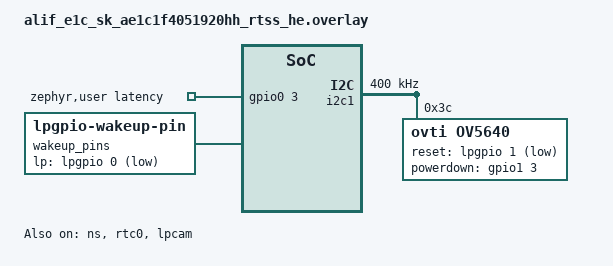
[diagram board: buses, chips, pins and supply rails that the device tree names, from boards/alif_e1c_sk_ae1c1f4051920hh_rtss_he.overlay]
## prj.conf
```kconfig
# Copyright (C) 2024 Alif Semiconductor
# SPDX-License-Identifier: Apache-2.0

CONFIG_VIDEO=y
CONFIG_LOG=y
CONFIG_LOG_BUFFER_SIZE=8192
CONFIG_PRINTK=y
CONFIG_STDOUT_CONSOLE=y
CONFIG_I2C_TARGET=y
CONFIG_I2C=y
CONFIG_I2C_DW_CLOCK_SPEED=100
CONFIG_SYS_HEAP_AUTO=y

# Power management: STOP-mode S2RAM with LPGPIO button wakeup.
CONFIG_PM=y
CONFIG_PM_DEVICE=y
CONFIG_POWER_DOMAIN=y
CONFIG_PM_S2RAM=y
CONFIG_PM_SAU_SAVE_RESTORE=y
CONFIG_POWEROFF=y
CONFIG_COUNTER=y
CONFIG_COUNTER_RTC_SNPS_DW=y
CONFIG_IDLE_STACK_SIZE=2048
CONFIG_CORTEX_M_SYSTICK_LPM_TIMER_HOOKS=y
CONFIG_ALIF_SE_DTS_RUN_PROFILE=n
CONFIG_ALIF_SE_DTS_OFF_PROFILE=n
```

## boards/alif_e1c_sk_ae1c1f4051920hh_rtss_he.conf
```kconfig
CONFIG_VIDEO_BUFFER_POOL_SZ_MAX=431616
CONFIG_VIDEO_BUFFER_POOL_NUM_MAX=1
```

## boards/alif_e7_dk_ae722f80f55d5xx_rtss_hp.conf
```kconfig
# mt9m114
CONFIG_MT9M114_PARALLEL_INIT=n
#
CONFIG_MIPI_DSI=y
```

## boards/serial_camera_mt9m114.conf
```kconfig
CONFIG_VIDEO_MIPI_CSI2_DW=y
CONFIG_VIDEO_BUFFER_POOL_SZ_MAX=1900000
CONFIG_VIDEO_BUFFER_POOL_NUM_MAX=1
CONFIG_REGULATOR=y
CONFIG_REGULATOR_FIXED_INIT_PRIORITY=40
CONFIG_MT9M114_PARALLEL_INIT=n
```

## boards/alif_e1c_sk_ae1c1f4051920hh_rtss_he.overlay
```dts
/* Copyright (C) 2026 Alif Semiconductor - All Rights Reserved.
 * Use, distribution and modification of this code is permitted under the
 * terms stated in the Alif Semiconductor Software License Agreement
 *
 * You should have received a copy of the Alif Semiconductor Software
 * License Agreement with this file. If not, please write to:
 * contact@alifsemi.com, or visit: https: //alifsemi.com/license
 *
 */

#include <dt-bindings/pinctrl/ensemble-e1c-pinctrl.h>
#include <dt-bindings/i2c/i2c.h>
#include <dt-bindings/gpio/gpio.h>
#include <dt-bindings/video/video-interfaces.h>

/*
 * Latency probe: P0_3 driven high at boot, low when capture starts,
 * high again when a frame has been dequeued.  Used for oscilloscope
 * measurements of camera acquisition latency.
 */
/ {
	zephyr,user {
		latency-gpios = <&gpio0 3 GPIO_ACTIVE_HIGH>;
	};
};

&pinctrl {
	pinctrl_gpio0_latency: pinctrl_gpio0_latency {
		group0 {
			pinmux = <PIN_P0_3__GPIO>;
			read-enable = <0x1>;
		};
	};
};

&pinctrl_uart2 {
	group0 {
		driver-state-control = <1>; /* pull-up: initialize RX active-high */
	};
};

&gpio0 {
	pinctrl-0 = <&pinctrl_gpio0_latency>;
	status = "okay";
};

&ns {
	status = "okay";
};

/*
 * Override gpio1 pinctrl to exclude P1_0 (JTAG_TMS), P1_1 (JTAG_TDI) and
 * P1_2 (JTAG_TDO) which are connected to the JTAG debug connector on the
 * E1C SK board. The default pinctrl_gpio1 covers the full port and would
 * remux those pads to GPIO, breaking the debug interface.
 */
&pinctrl {
	pinctrl_gpio1_video: pinctrl_gpio1_video {
		group0 {
			pinmux = <PIN_P1_3__GPIO>,
				 <PIN_P1_4__GPIO>,
				 <PIN_P1_5__GPIO>,
				 <PIN_P1_6__GPIO>,
				 <PIN_P1_7__GPIO>;
			read-enable = <0x1>;
		};
	};
};

&gpio1 {
	pinctrl-0 = <&pinctrl_gpio1_video>;
	status = "okay";
};

&pinctrl_lpgpio {
	group0 {
		pinmux = <PIN_P15_0__LPGPIO>,
			 <PIN_P15_1__LPGPIO>;
		read-enable = <1>;
		driver-state-control = <1>;
		drive-strength = <8>;
	};
};

&lpgpio {
	pinctrl-0 = <&pinctrl_lpgpio>;
	pinctrl-names = "default";
	status = "okay";
};

/*
 * Capture trigger button on LPGPIO 0 (P15_0). Reuses the simple_pm
 * "wakeup_pins" / "lpgpio-wakeup-pin" pattern so the same node also drives
 * the PM wakeup path.
 */
/ {
	wakeup_pins: wakeup_pins {
		compatible = "lpgpio-wakeup-pin";
		lpgpios = <&lpgpio 0 GPIO_ACTIVE_LOW>;
	};
};

/*
 * PM bits: RTC as Cortex-M idle timer, S2RAM as the chosen low-power state.
 * The video sample does not arm the RTC for timed wakeups — it serves only
 * as the idle-time reference for the LPM systick hooks.
 */
&rtc0 {
	prescaler = <1>;
	status = "okay";
};

&stop_s2ram {
	min-residency-us = <4000>;
	exit-latency-us = <3000>;
	status = "okay";
};

/ {
	chosen {
		zephyr,cortex-m-idle-timer = &rtc0;
	};
};

&i2c1 {
	status = "okay";
	clock-frequency = <I2C_BITRATE_FAST>;
	hcnt-offset = <10>;
	lcnt-offset = <10>;

	ov5640: ov5640@3c{
		compatible = "ovti,ov5640";
		reg = <0x3c>;
		status = "okay";
		reset-gpios = <&lpgpio 1 GPIO_ACTIVE_LOW>;
		powerdown-gpios = <&gpio1 3 GPIO_ACTIVE_HIGH>;

		port {
			ov5640_ep_out: endpoint {
				bus-type = <VIDEO_BUS_TYPE_PARALLEL>;
				remote-endpoint-label = "lpcam_ep_in";
			};
		};
	};
};

&lpcam {
	status = "okay";
	cpi-interface = "parallel";
	ports {
		#address-cells = <1>;
		#size-cells = <0>;

		/* Camera Input Endpoint. For LP-CAM it is only camera */
		port@0 {
			reg = <0>;
			lpcam_ep_in: endpoint {
				remote-endpoint-label = "ov5640_ep_out";
			};
		};

		/* Video buffer output endpoint. */
		port@1 {
			reg = <1>;
			cam_mem_ep_out: endpoint {
				remote-endpoint-label = "application";
			};
		};


	};
};
```

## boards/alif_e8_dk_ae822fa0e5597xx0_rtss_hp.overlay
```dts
&sram1 {
	status = "okay";
};
```

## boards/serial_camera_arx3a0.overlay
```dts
/* Copyright (C) 2025 Alif Semiconductor - All Rights Reserved.
 * Use, distribution and modification of this code are permitted under the
 * terms stated in the Alif Semiconductor Software License Agreement.
 *
 * You should have received a copy of the Alif Semiconductor Software
 * License Agreement with this file. If not, please write to:
 * contact@alifsemi.com, or visit: https://alifsemi.com/license
 */

#include <dt-bindings/pinctrl/ensemble-pinctrl.h>
#include <dt-bindings/i2c/i2c.h>
#include <dt-bindings/gpio/gpio.h>

/ {
	soc {

		csi: csi@49033000 {
			compatible = "snps,designware-csi";
			reg = <0x49033000 0x1000>;
			interrupts = <344 0>;

			data-lanes = <2>;
			ipi-mode = "Camera";
			phy-if = <&dphy>;

			csi-hsa = <5>;
			csi-hbp = <10>;
			csi-hsd = <280>;
			csi-hact = <560>;
			csi-vsa = <4>;
			csi-vbp = <4>;
			csi-vfp = <4>;
			csi-vact = <560>;
		};
	};
};



&gpio9 {
	status = "okay";
};

&gpio7 {
	status = "okay";
};

&i2c1 {
	status = "okay";

	arx3a0: arx3a0@36 {
		compatible = "onnn,arx3a0";
		reg = <0x36>;
		pinctrl-0 = < &pinctrl_cam_xvclk >;
		pinctrl-names = "default";
		reset-gpios = <&gpio9 1 GPIO_ACTIVE_HIGH>;
		power-gpios = <&gpio7 5 GPIO_ACTIVE_HIGH>;

		status = "okay";

		port {
			arx3a0_csi2_ep_out: endpoint {
				remote-endpoint = <&csi2_ep_in>;
			};
		};
	};
};

&cam {
	status = "okay";
	sensor = <&arx3a0>;
	csi-bus-if = <&csi>;
	port {
		/* MIPI CSI-2 bus endpoint. */
		cam_csi2_ep_in: endpoint {
			remote-endpoint = <&csi2_ep_out>;
		};
	};
};

&csi {
	#address-cells = <1>;
	#size-cells = <0>;
	port@1 {
		reg = <1>;
		csi2_ep_in: endpoint {
			remote-endpoint = <&arx3a0_csi2_ep_out>;
		};
	};
	port@2 {
		reg = <2>;
		csi2_ep_out: endpoint {
			remote-endpoint = <&cam_csi2_ep_in>;
		};
	};
};

&mipi_dsi {
	status = "okay";
};
```

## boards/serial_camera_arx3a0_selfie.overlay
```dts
/* Copyright (C) 2025 Alif Semiconductor - All Rights Reserved.
 * Use, distribution and modification of this code are permitted under the
 * terms stated in the Alif Semiconductor Software License Agreement.
 *
 * You should have received a copy of the Alif Semiconductor Software
 * License Agreement with this file. If not, please write to:
 * contact@alifsemi.com, or visit: https://alifsemi.com/license
 */

#include <dt-bindings/pinctrl/ensemble-pinctrl.h>
#include <dt-bindings/i2c/i2c.h>
#include <dt-bindings/gpio/gpio.h>
#include <dt-bindings/video/video-interfaces.h>

&i2c1 {
	status = "okay";
};

&gpio7 {
	status = "okay";
};

&gpio14 {
	status = "okay";
};

/{
	i2c_mux: i2c-mux {
		compatible = "gpio-i2c-mux";
		status = "okay";
		#address-cells = <1>;
		#size-cells = <0>;

		i2c-inst = <&i2c1>;

		ctrl-gpios = <&gpio14 3 GPIO_ACTIVE_HIGH>;

		mux_i2c@0 {
			compatible = "gpio-i2c-mux-channel";
			reg = <0>;

			#address-cells = <1>;
			#size-cells = <0>;

			arx3a0_selfie: arx3a0_selfie@36 {
				compatible = "onnn,arx3a0";
				reg = <0x36>;

				reset-gpios = <&gpio14 4 GPIO_ACTIVE_HIGH>;
				power-gpios = <&gpio7 5 GPIO_ACTIVE_HIGH>;

				status = "okay";

				port {
					arx3a0_csi2_ep_out0: endpoint {
						bus-type = <VIDEO_BUS_TYPE_CSI2_DPHY>;
						link-frequencies = < 400000000 >;
						data-lanes = <1 2>;
						clock-lane = <0>;

						remote-endpoint-label = "csi2_ep_in0";
					};
				};
			};
		};
	};
};

&cam {
	status = "okay";

	pinctrl-0 = <&pinctrl_cam_xvclk>;
	pinctrl-names = "default";

	ports {
		#address-cells = <1>;
		#size-cells = <0>;

		/* MIPI CSI-2 bus endpoint. */
		port@0 {
			reg = <0>;
			cam_csi2_ep_in: endpoint {
				remote-endpoint-label = "csi2_ep_out";
			};
		};

		/* Video buffer output endpoint. */
		port@1 {
			reg = <1>;
			cam_mem_ep_out: endpoint {
				remote-endpoint-label = "application";
			};
		};
	};
};

&csi {
	status = "okay";

	/* Selfie camera D-PHY*/
	phy-if = <&dphy 0>;
	ports {
		#address-cells = <1>;
		#size-cells = <0>;
		port@0 {
			reg = <0>;
			csi2_ep_in0: endpoint {
				bus-type = <VIDEO_BUS_TYPE_CSI2_DPHY>;
				data-lanes = <1 2>;
				clock-lane = <0>;

				remote-endpoint-label = "arx3a0_csi2_ep_out0";
			};
		};
		port@2 {
			reg = <2>;
			csi2_ep_out: endpoint {
				remote-endpoint-label = "cam_csi2_ep_in";
				bus-type = <VIDEO_BUS_TYPE_PARALLEL>;
			};
		};
	};
};
```

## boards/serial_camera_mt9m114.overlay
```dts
/* Copyright (C) 2025 Alif Semiconductor - All Rights Reserved.
 * Use, distribution and modification of this code are permitted under the
 * terms stated in the Alif Semiconductor Software License Agreement.
 *
 * You should have received a copy of the Alif Semiconductor Software
 * License Agreement with this file. If not, please write to:
 * contact@alifsemi.com, or visit: https://alifsemi.com/license
 */

#include <dt-bindings/pinctrl/ensemble-pinctrl.h>
#include <dt-bindings/i2c/i2c.h>
#include <dt-bindings/gpio/gpio.h>
#include <dt-bindings/video/video-interfaces.h>

&gpio7 {
	status = "okay";
};

&gpio9 {
	status = "okay";
};

&i2c1 {
	status = "okay";

	mt9m114: mt9m114@5d {
		compatible = "aptina,mt9m114";
		reg = <0x5d>;
		pinctrl-0 = < &pinctrl_cam_xvclk >;
		pinctrl-names = "default";
		reset-gpios = <&gpio9 1 GPIO_ACTIVE_HIGH>;
		power-gpios = <&gpio7 5 GPIO_ACTIVE_HIGH>;

		status = "okay";

		port {
			mt9m114_ep_out: endpoint {
				bus-type = <VIDEO_BUS_TYPE_CSI2_DPHY>;
				link-frequencies = < 400000000 >;
				data-lanes = <1>;
				clock-lane = <0>;

				remote-endpoint-label = "csi2_ep_in";
			};
		};
	};
};

&cam {
	status = "okay";

	pinctrl-0 = <&pinctrl_cam_xvclk>;
	pinctrl-names = "default";

	/* data-mode = "16-bit"; */

	ports {
		#address-cells = <1>;
		#size-cells = <0>;

		/* MIPI CSI-2 bus endpoint. */
		port@0 {
			reg = <0>;
			cam_csi2_ep_in: endpoint {
				remote-endpoint-label = "csi2_ep_out";
			};
		};

		/* Video buffer output endpoint. */
		port@1 {
			reg = <1>;
			cam_mem_ep_out: endpoint {
				remote-endpoint-label = "application";
			};
		};
	};
};

&csi {
	status = "okay";

	/* RX-DPHY */
	phy-if = <&dphy 0>;
	ports {
		#address-cells = <1>;
		#size-cells = <0>;
		port@0 {
			reg = <0>;
			csi2_ep_in: endpoint {
				bus-type = <VIDEO_BUS_TYPE_CSI2_DPHY>;
				data-lanes = <1>;
				clock-lane = <0>;

				remote-endpoint-label = "mt9m114_ep_out";
			};
		};
		port@2 {
			reg = <2>;
			csi2_ep_out: endpoint {
				remote-endpoint-label = "cam_csi2_ep_in";
				bus-type = <VIDEO_BUS_TYPE_PARALLEL>;
			};
		};
	};
};
```

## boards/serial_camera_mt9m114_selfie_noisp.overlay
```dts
/* Copyright (C) 2026 Alif Semiconductor - All Rights Reserved.
 * Use, distribution and modification of this code are permitted under the
 * terms stated in the Alif Semiconductor Software License Agreement.
 *
 * You should have received a copy of the Alif Semiconductor Software
 * License Agreement with this file. If not, please write to:
 * contact@alifsemi.com, or visit: https://alifsemi.com/license
 */

/*
 * Selfie MT9M114 (CSI-2) capture WITHOUT the ISP in the pipeline.
 *
 * This is a copy of serial_camera_mt9m114_selfie.overlay with the ISP
 * removed: the &isp node is left disabled (SoC default) and the CAM
 * controller streams directly to memory (the "application" endpoint)
 * instead of the ISP. Use this to exercise the capture path with the
 * ISP config omitted.
 */

#include <dt-bindings/pinctrl/ensemble-pinctrl.h>
#include <dt-bindings/i2c/i2c.h>
#include <dt-bindings/gpio/gpio.h>
#include <dt-bindings/video/video-interfaces.h>

&i2c1 {
	status = "okay";
};

&gpio7 {
	status = "okay";
};

&gpio14 {
	status = "okay";
};

/ {
	csi_cam_power: regulator-v1.2-v1.8v {
		compatible = "regulator-fixed";

		regulator-name = "MIPI supply";

		enable-gpios = < &gpio7 5 GPIO_ACTIVE_HIGH >;

		regulator-boot-on;
		regulator-always-on;
		status = "okay";
	};

	i2c_mux: i2c-mux {
		compatible = "gpio-i2c-mux";
		status = "okay";
		#address-cells = <1>;
		#size-cells = <0>;

		i2c-inst = <&i2c1>;

		ctrl-gpios = <&gpio14 3 GPIO_ACTIVE_HIGH>;

		mux_i2c@0 {
			compatible = "gpio-i2c-mux-channel";
			reg = <0>;

			#address-cells = <1>;
			#size-cells = <0>;

			mt9m114_selfie: mt9m114_selfie@5d {
				compatible = "aptina,mt9m114";
				reg = <0x5d>;

				reset-gpios = <&gpio14 4 GPIO_ACTIVE_LOW>;

				status = "okay";

				port {
					mt9m114_csi2_ep_out0: endpoint {
						bus-type = <VIDEO_BUS_TYPE_CSI2_DPHY>;
						link-frequencies = < 384000000 >;
						data-lanes = <1>;
						clock-lane = <0>;

						remote-endpoint-label = "csi2_ep_in0";
					};
				};
			};
		};
	};
};

&cam {
	status = "okay";

	pinctrl-0 = <&pinctrl_cam_xvclk>;
	pinctrl-names = "default";

	ports {
		#address-cells = <1>;
		#size-cells = <0>;

		/* MIPI CSI-2 bus endpoint. */
		port@0 {
			reg = <0>;
			cam_csi2_ep_in: endpoint {
				remote-endpoint-label = "csi2_ep_out";
			};
		};

		/* Video buffer output endpoint (direct to memory, no ISP). */
		port@1 {
			reg = <1>;
			cam_mem_ep_out: endpoint {
				remote-endpoint-label = "application";
			};
		};
	};
};

&csi {
	status = "okay";

	/* Selfie camera D-PHY*/
	phy-if = <&dphy 0>;
	ports {
		#address-cells = <1>;
		#size-cells = <0>;
		port@0 {
			reg = <0>;
			csi2_ep_in0: endpoint {
				bus-type = <VIDEO_BUS_TYPE_CSI2_DPHY>;
				link-frequencies = < 384000000 >;
				data-lanes = <1>;
				clock-lane = <0>;

				remote-endpoint-label = "mt9m114_csi2_ep_out0";
			};
		};
		port@2 {
			reg = <2>;
			csi2_ep_out: endpoint {
				remote-endpoint-label = "cam_csi2_ep_in";
				bus-type = <VIDEO_BUS_TYPE_PARALLEL>;
			};
		};
	};
};
```

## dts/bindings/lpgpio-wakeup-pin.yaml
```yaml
# Copyright (C) 2026 Alif Semiconductor - All Rights Reserved.
# Use, distribution and modification of this code is permitted under the
# terms stated in the Alif Semiconductor Software License Agreement
#
# You should have received a copy of the Alif Semiconductor Software
# License Agreement with this file. If not, please write to:
# contact@alifsemi.com, or visit: https://alifsemi.com/license

description: LPGPIO wakeup pin definition

compatible: "lpgpio-wakeup-pin"

properties:
  lpgpios:
    type: phandle-array
    required: true
    description: |
      The LPGPIO pin used to wakeup system.
```

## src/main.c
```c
/*
 * Copyright (C) 2026 Alif Semiconductor.
 * SPDX-License-Identifier: Apache-2.0
 */

#include <zephyr/kernel.h>
#include <zephyr/device.h>

#include <zephyr/drivers/video.h>
#include <soc_common.h>
#include <se_service.h>
#include <zephyr/drivers/gpio.h>

#include <zephyr/drivers/video/video_alif.h>
#include <zephyr/drivers/video/isp-vsi.h>

#ifdef CONFIG_DT_HAS_HIMAX_HM0360_ENABLED
#include <zephyr/drivers/video/hm0360-video-controls.h>
#endif /* CONFIG_DT_HAS_HIMAX_HM0360_ENABLED */

#ifdef CONFIG_DT_HAS_OVTI_OV5640_ENABLED
#include <zephyr/drivers/regulator.h>
#endif

#include <zephyr/logging/log.h>
LOG_MODULE_REGISTER(video_app, LOG_LEVEL_INF);

#define ISP_ENABLED DT_NODE_HAS_STATUS_OKAY(DT_NODELABEL(isp))
#define JPEG_ENABLED (ISP_ENABLED && DT_NODE_HAS_STATUS_OKAY(DT_NODELABEL(jpeg0)))

#ifdef CONFIG_DT_HAS_OVTI_OV5640_ENABLED
#define N_FRAMES		1
#else
#define N_FRAMES		10
#endif
/*
 * Single-buffer capture demo: use exactly ONE video buffer and loop to
 * capture N_FRAMES images, re-enqueuing the same buffer after each frame.
 * This behaves identically with and without the ISP in the pipeline.
 */
#define N_VID_BUFF              1

#if JPEG_ENABLED
/* The JPEG encoder consumes one output buffer from the pool in addition to
 * the single capture buffer.
 */
BUILD_ASSERT(CONFIG_VIDEO_BUFFER_POOL_NUM_MAX >= 2, "Insufficient Video buffer pool capacity");
#endif /* JPEG_ENABLED */


#ifdef CONFIG_DT_HAS_HIMAX_HM0360_ENABLED
#define PIPELINE_FORMAT	VIDEO_PIX_FMT_BGGR8
#elif CONFIG_DT_HAS_OVTI_OV5640_ENABLED
#define PIPELINE_FORMAT	VIDEO_PIX_FMT_RGB565
#else
#define PIPELINE_FORMAT	VIDEO_PIX_FMT_Y10P
#endif /* CONFIG_DT_HAS_HIMAX_HM0360_ENABLED */

#if ISP_ENABLED
#if JPEG_ENABLED
#define OUTPUT_FORMAT	VIDEO_PIX_FMT_NV12
#else
#define OUTPUT_FORMAT	VIDEO_PIX_FMT_RGB888_PLANAR_PRIVATE
#endif /* JPEG_ENABLED */
#endif

#if (CONFIG_VIDEO_ALIF_CAM_EXTENDED && CONFIG_VIDEO_MIPI_CSI2_DW)
#define NUM_CAMS DT_PROP_LEN(DT_NODELABEL(csi), phy_if)
#else
#define NUM_CAMS 1
#endif /* CONFIG_VIDEO_ALIF_CAM_EXTENDED */

#if ISP_ENABLED
enum logging_level {
	LOGGING_LEVEL_NONE = 0,
	LOGGING_LEVEL_ERR,
	LOGGING_LEVEL_WARN,
	LOGGING_LEVEL_INFO,
	LOGGING_LEVEL_DEBUG,
	LOGGING_LEVEL_VERBOSE,
};

#define LIB_LOG_LEVEL LOGGING_LEVEL_NONE

int log_level(void)
{
	return LIB_LOG_LEVEL;
}
#endif

#if JPEG_ENABLED
#define JPEG_DEVICE_NODE DT_NODELABEL(jpeg0)
#define JPEG_COMPRESS_QUALITY    50
#define JPEG_HEADER_SIZE         CONFIG_VIDEO_JPEG_HANTRO_VC9000E_HEADER_SIZE
/* Jpeg output buffer */
static struct video_buffer *jpeg_op_buf;
const struct device *jpeg_dev;
static struct video_caps jpeg_fmt_caps;
#endif /* JPEG_ENABLED */

static int fourcc_to_pitch(uint32_t fourcc, uint32_t width)
{
	int pitch;

	switch (fourcc) {
	case VIDEO_PIX_FMT_RGB888_PLANAR_PRIVATE:
	case VIDEO_PIX_FMT_NV24:
	case VIDEO_PIX_FMT_NV42:
		pitch = width * 3;
		break;
	case VIDEO_PIX_FMT_RGB565:
	case VIDEO_PIX_FMT_Y10P:
	case VIDEO_PIX_FMT_BGGR10:
	case VIDEO_PIX_FMT_GBRG10:
	case VIDEO_PIX_FMT_GRBG10:
	case VIDEO_PIX_FMT_RGGB10:
	case VIDEO_PIX_FMT_BGGR12:
	case VIDEO_PIX_FMT_GBRG12:
	case VIDEO_PIX_FMT_GRBG12:
	case VIDEO_PIX_FMT_RGGB12:
	case VIDEO_PIX_FMT_BGGR14:
	case VIDEO_PIX_FMT_GBRG14:
	case VIDEO_PIX_FMT_GRBG14:
	case VIDEO_PIX_FMT_RGGB14:
	case VIDEO_PIX_FMT_BGGR16:
	case VIDEO_PIX_FMT_GBRG16:
	case VIDEO_PIX_FMT_GRBG16:
	case VIDEO_PIX_FMT_RGGB16:
	case VIDEO_PIX_FMT_Y10:
	case VIDEO_PIX_FMT_Y12:
	case VIDEO_PIX_FMT_Y14:
	case VIDEO_PIX_FMT_YUYV:
	case VIDEO_PIX_FMT_YVYU:
	case VIDEO_PIX_FMT_VYUY:
	case VIDEO_PIX_FMT_UYVY:
	case VIDEO_PIX_FMT_NV16:
	case VIDEO_PIX_FMT_NV61:
	case VIDEO_PIX_FMT_YUV422P:
		pitch = width << 1;
		break;
	case VIDEO_PIX_FMT_NV12:
	case VIDEO_PIX_FMT_NV21:
	case VIDEO_PIX_FMT_YUV420:
	case VIDEO_PIX_FMT_YVU420:
		pitch = (width * 3) >> 1;
		break;
	case VIDEO_PIX_FMT_BGGR8:
	case VIDEO_PIX_FMT_GBRG8:
	case VIDEO_PIX_FMT_GRBG8:
	case VIDEO_PIX_FMT_RGGB8:
	case VIDEO_PIX_FMT_GREY:
	default:
		pitch = width;
		break;
	}

	return pitch;
}

#if ISP_ENABLED && defined(CONFIG_ISP_LIB_AE_MODULE)
static void ae_status(const struct device *dev, uint8_t ae_stable, void *user_data)
{
	ARG_UNUSED(dev);
	ARG_UNUSED(user_data);
	LOG_INF("AE Stabilization status: %d", ae_stable);
}
#endif /* ISP_ENABLED && defined(CONFIG_ISP_LIB_AE_MODULE) */

#if JPEG_ENABLED
/**
 * @brief Test basic JPEG compression.
 *
 * Compress the full test image at the configured quality, store the
 * compressed data in the provided output buffer, and print a host-side
 * dump-memory command for retrieving the result.
 *
 * @param jpeg_dev      Pointer to the JPEG encoder device.
 * @param fmt           Jpeg frame format.
 * @param input_buf     Pointer to input buffer.
 * @param input_buf_idx Input buffer index.
 * @param output_buf    Pointer to output buffer for compressed jpeg data.
 *
 * @return 0 on success, negative errno on failure.
 */
static int jpeg_compress_img(const struct device *jpeg_dev,
			struct video_format fmt,
			struct video_buffer *input_buf,
			uint8_t input_buf_idx,
			struct video_buffer *output_buf)
{
	struct video_buffer *dequeued_buf = NULL;
	int ret;

	LOG_INF("Starting JPEG encoding...");

	/* The pitch is 16-bytes aligned */
	fmt.pitch = ROUND_UP(fmt.width, 16);

	/* Set video format */
	ret = video_set_format(jpeg_dev, VIDEO_EP_OUT, &fmt);
	if (ret < 0) {
		LOG_ERR("Jpeg: Failed to set format: %d", ret);
		return ret;
	}

	LOG_INF("Jpeg: Format set: %ux%u, format: NV12", fmt.width, fmt.height);

	/* Set JPEG quality */
	uint8_t quality = JPEG_COMPRESS_QUALITY;

	ret = video_set_ctrl(jpeg_dev, VIDEO_CID_JPEG_COMPRESSION_QUALITY, &quality);
	if (ret < 0) {
		LOG_ERR("JPEG: Failed to set quality: %d", ret);
		return ret;
	}

	/* Set input buffer address */
	ret = video_set_ctrl(jpeg_dev, VIDEO_CID_JPEG_INPUT_BUFFER, input_buf->buffer);
	if (ret < 0) {
		LOG_ERR("Jpeg: Failed to set input buffer: %d", ret);
		return ret;
	}

	output_buf->bytesused = fmt.width * fmt.height;

	/* Enqueue output buffer */
	ret = video_enqueue(jpeg_dev, VIDEO_EP_OUT, output_buf);
	if (ret < 0) {
		LOG_ERR("Jpeg: Failed to enqueue buffer: %d", ret);
		return ret;
	}


	ret = video_stream_start(jpeg_dev);
	if (ret < 0) {
		LOG_ERR("Jpeg: Failed to start stream: %d", ret);
		return ret;
	}

	/* Dequeue encoded buffer */
	ret = video_dequeue(jpeg_dev, VIDEO_EP_OUT, &dequeued_buf, K_SECONDS(5));
	if (ret < 0) {
		LOG_ERR("Jpeg: Failed to dequeue buffer: %d", ret);
		video_stream_stop(jpeg_dev);
		return ret;
	}

	/* Stop streaming */
	ret = video_stream_stop(jpeg_dev);
	if (ret < 0) {
		LOG_ERR("Jpeg: Failed to stop stream: %d", ret);
		return ret;
	}

	/* Print results */
	LOG_INF("=== JPEG Encoding Success===");
	LOG_INF("Jpeg: Capture Image: dump memory "
		"\"/home/$USER/capture_cp_%d.jpg\" 0x%08x 0x%08x\n",
		input_buf_idx, (uint32_t)output_buf->buffer,
		(uint32_t)output_buf->buffer + dequeued_buf->bytesused);

	return 0;

}
#endif /* JPEG_ENABLED */

int main(void)
{
	struct video_buffer *buffers[N_VID_BUFF], *vbuf;
	struct video_format fmt = { 0 };
	struct video_caps caps[NUM_CAMS];
	const struct device *video;
	enum video_endpoint_id ep;
	unsigned int frame = 0;
	size_t bsize;
	int i = 0;
	int ret;

#ifdef CONFIG_DT_HAS_HIMAX_HM0360_ENABLED
	uint32_t num_frames;
#endif /* CONFIG_DT_HAS_HIMAX_HM0360_ENABLED */

#if (CONFIG_VIDEO_ALIF_CAM_EXTENDED && CONFIG_VIDEO_MIPI_CSI2_DW)
	uint8_t current_sensor;
#endif /* CONFIG_VIDEO_ALIF_CAM_EXTENDED */
	int loop_ctr;

	uint32_t last_timestamp = 0;
	uint32_t frame_time = 0;

#if ISP_ENABLED
	video = DEVICE_DT_GET_ONE(vsi_isp_pico);
#else
	video = DEVICE_DT_GET_ONE(alif_cam);
#endif /* DT_NODE_HAS_STATUS_OKAY(DT_NODELABEL(isp), okay)*/

	if (!device_is_ready(video)) {
		LOG_ERR("%s: device not ready.", video->name);
		return -1;
	}
	LOG_INF("- Device name: %s", video->name);

#ifdef CONFIG_DT_HAS_OVTI_OV5640_ENABLED
	const struct device *cam_enbuf =
		DEVICE_DT_GET(DT_NODELABEL(cam_enbuf));

	if (!device_is_ready(cam_enbuf)) {
		LOG_ERR("cam_enbuf regulator not ready\n");
		return -1;
	}
#endif

#if ISP_ENABLED && defined(CONFIG_ISP_LIB_AE_MODULE)
	ret = isp_vsi_register_ae_status_callback(video, ae_status, NULL);
	if (ret) {
		LOG_ERR("Failed to register AE callback!");
		return ret;
	}
#endif /* ISP_ENABLED && defined(CONFIG_ISP_LIB_AE_MODULE) */

	for (loop_ctr = NUM_CAMS - 1; loop_ctr >= 0; loop_ctr--) {
#if (CONFIG_VIDEO_ALIF_CAM_EXTENDED && CONFIG_VIDEO_MIPI_CSI2_DW)
		ret = video_get_ctrl(video, VIDEO_CID_ALIF_CSI_CURR_CAM, &current_sensor);
		if (ret) {
			LOG_ERR("Failed to get current camera!");
			return ret;
		}
		LOG_INF("Selected camera: %s", (current_sensor) ? "Standard" : "Selfie");
#endif /* CONFIG_VIDEO_ALIF_CAM_EXTENDED */

		if (IS_ENABLED(ISP_ENABLED)) {
			ep = VIDEO_EP_IN;
		} else {
			ep = VIDEO_EP_OUT;
		}

		/* Get capabilities */
		if (video_get_caps(video, ep, &caps[loop_ctr])) {
			LOG_ERR("Unable to retrieve video capabilities");
			return -1;
		}

		LOG_INF("- Capabilities:\n");
		while (caps[loop_ctr].format_caps[i].pixelformat) {
			const struct video_format_cap *fcap = &caps[loop_ctr].format_caps[i];
			/* fourcc to string */
			LOG_INF("  %c%c%c%c width (min, max, step)[%u; %u; %u] "
				"height (min, max, step)[%u; %u; %u]",
			       (char)fcap->pixelformat,
			       (char)(fcap->pixelformat >> 8),
			       (char)(fcap->pixelformat >> 16),
			       (char)(fcap->pixelformat >> 24),
			       fcap->width_min, fcap->width_max, fcap->width_step,
			       fcap->height_min, fcap->height_max, fcap->height_step);
			if (fcap->pixelformat == PIPELINE_FORMAT) {
				fmt.pixelformat = PIPELINE_FORMAT;
				if (IS_ENABLED(CONFIG_DT_HAS_HIMAX_HM0360_ENABLED)) {
					fmt.width = 320;
					fmt.height = 240;
				} else if (IS_ENABLED(CONFIG_DT_HAS_OVTI_OV5640_ENABLED)) {
					fmt.width = 160;
					fmt.height = 120;
				} else {
					fmt.width = fcap->width_min;
					fmt.height = fcap->height_min;
				}
			}
			i++;
		}

		if (fmt.pixelformat == 0) {
			LOG_ERR("Desired Pixel format is not supported.");
			return -1;
		}

		fmt.pitch = fourcc_to_pitch(fmt.pixelformat, fmt.width);

		ret = video_set_format(video, ep, &fmt);
		if (ret) {
			LOG_ERR("Failed to set video format. ret - %d", ret);
			return -1;
		}

#if (CONFIG_VIDEO_ALIF_CAM_EXTENDED && CONFIG_VIDEO_MIPI_CSI2_DW)
		if (NUM_CAMS > 1) {
			current_sensor ^= 1;
			ret = video_set_ctrl(video, VIDEO_CID_ALIF_CSI_CURR_CAM,
					&current_sensor);
			if (ret) {
				LOG_ERR("Unable to switch camera!");
			}
		}
#endif /* CONFIG_VIDEO_ALIF_CAM_EXTENDED */
	}

#if (ISP_ENABLED)
		/*
		 * Set Output Endpoint format. Ensure that ISP EP-out
		 * format is set while allocating the buffers used to
		 * capture images.
		 */
		fmt.pixelformat = OUTPUT_FORMAT;
		fmt.width = 480;
		fmt.height = 480;
		fmt.pitch = fourcc_to_pitch(fmt.pixelformat, fmt.width);

		ret = video_set_format(video, VIDEO_EP_OUT, &fmt);
		if (ret) {
			LOG_ERR("Failed to set video format. ret - %d", ret);
			return -1;
		}
#endif /*ISP_ENABLED */

	LOG_INF("- format: %c%c%c%c %ux%u", (char)fmt.pixelformat,
	       (char)(fmt.pixelformat >> 8),
	       (char)(fmt.pixelformat >> 16),
	       (char)(fmt.pixelformat >> 24),
	       fmt.width, fmt.height);

	/* Size to allocate for each buffer */
	bsize = fmt.pitch * fmt.height;

	LOG_INF("Width - %d, Pitch - %d, Height - %d, Buff size - %d",
			fmt.width, fmt.pitch, fmt.height, bsize);

#if (CONFIG_VIDEO_ALIF_CAM_EXTENDED && CONFIG_VIDEO_MIPI_CSI2_DW)
		if (NUM_CAMS > 1) {
			current_sensor = 0;
			ret = video_set_ctrl(video, VIDEO_CID_ALIF_CSI_CURR_CAM,
					&current_sensor);
			if (ret) {
				LOG_ERR("Unable to switch camera!");
			}
		}
#endif /* CONFIG_VIDEO_ALIF_CAM_EXTENDED */

#if JPEG_ENABLED
	/* Get JPEG device */
	jpeg_dev = DEVICE_DT_GET(JPEG_DEVICE_NODE);
	if (!device_is_ready(jpeg_dev)) {
		LOG_ERR("JPEG: device not ready");
		return -1;
	}

	LOG_INF("JPEG: device ready: %s", jpeg_dev->name);

	/* Get capabilities */
	ret = video_get_caps(jpeg_dev, VIDEO_EP_OUT, &jpeg_fmt_caps);
	if (ret != 0) {
		LOG_ERR("Jpeg: Failed to fetch Jpeg capabilities");
		return -1;
	}

	LOG_INF("JPEG: Encoder Capabilities:");
	for (int i = 0; jpeg_fmt_caps.format_caps[i].pixelformat != 0; i++) {
		LOG_INF("  Format: 0x%08x, Size: %ux%u to %ux%u",
			jpeg_fmt_caps.format_caps[i].pixelformat,
			jpeg_fmt_caps.format_caps[i].width_min,
			jpeg_fmt_caps.format_caps[i].height_min,
			jpeg_fmt_caps.format_caps[i].width_max,
			jpeg_fmt_caps.format_caps[i].height_max);
	}

	uint32_t jpeg_op_bsize = (fmt.width * fmt.height) + JPEG_HEADER_SIZE;

	/* Allocate output buffer from video buffer pool */
	jpeg_op_buf = video_buffer_alloc(jpeg_op_bsize, K_NO_WAIT);
	if (jpeg_op_buf == NULL) {
		LOG_ERR("Jpeg: Failed to allocate Jpeg output buffer");
		return -1;
	}
	LOG_INF("Jpeg: Outbuf allocated at 0x%08x with %u bytes\n",
			(uint32_t)jpeg_op_buf->buffer, jpeg_op_bsize);
	memset(jpeg_op_buf->buffer, 0, jpeg_op_bsize);
#endif /* JPEG_ENABLED */

	/* Alloc video buffers and enqueue for capture */
	for (i = 0; i < ARRAY_SIZE(buffers); i++) {
		buffers[i] = video_buffer_alloc(bsize, K_NO_WAIT);
		if (buffers[i] == NULL) {
			LOG_ERR("Unable to alloc video buffer");
			return -1;
		}

		/* Allocated Buffer Information */
		LOG_INF("- addr - 0x%x, size - %d, bytesused - %d, resolution - %ux%u",
			(uint32_t)buffers[i]->buffer,
			bsize,
			buffers[i]->bytesused,
			fmt.width, fmt.height);

		memset(buffers[i]->buffer, 0, sizeof(char) * bsize);
		video_enqueue(video, VIDEO_EP_OUT, buffers[i]);

		LOG_INF("capture buffer[%d]: dump binary memory "
			"\"/home/$USER/capture_%d.bin\" 0x%08x 0x%08x -r\n",
			i, i, (uint32_t)buffers[i]->buffer,
			(uint32_t)buffers[i]->buffer + bsize - 1);
	}

	/*
	 * TODO: Need to fix this delay.
	 * As per our observation, if we are not giving this much delay
	 * then mt9m114 camera sensor is not setup properly and images its
	 * sending out are not clear.
	 */
	k_msleep(7000);

#if CONFIG_DT_HAS_HIMAX_HM0360_ENABLED
	/* Video test SNAPSHOT capture. */
	num_frames = N_FRAMES;
	ret = video_set_ctrl(video, VIDEO_CID_SNAPSHOT_CAPTURE, &num_frames);
	if (ret) {
		LOG_INF("Snapshot mode not-supported by CMOS sensor.");
	}
#endif

#ifdef CONFIG_DT_HAS_OVTI_OV5640_ENABLED
	regulator_enable(cam_enbuf);
#endif

	/* Start video capture */
	ret = video_stream_start(video);
	if (ret) {
		LOG_ERR("Unable to start capture (interface). ret - %d", ret);
		return -1;
	}

	LOG_INF("Capture started");

	for (int i = 0; i < N_FRAMES; i++) {
		ret = video_dequeue(video, VIDEO_EP_OUT, &vbuf, K_FOREVER);
		if (ret) {
			LOG_ERR("Unable to dequeue video buf");
			return -1;
		}

		LOG_INF("Got frame %u! size: %u; timestamp %u ms; buf @0x%08x",
		       frame++, vbuf->bytesused, vbuf->timestamp,
		       (uint32_t)vbuf->buffer);

		if (last_timestamp == 0) {
			LOG_INF("FPS: 0.0");
			last_timestamp = vbuf->timestamp;
		} else {
			frame_time = vbuf->timestamp - last_timestamp;
			last_timestamp = vbuf->timestamp;
			LOG_INF("FPS: %f", 1000.0/frame_time);
		}

#if JPEG_ENABLED
		ret = jpeg_compress_img(jpeg_dev, fmt, vbuf, i, jpeg_op_buf);
		if (ret != 0) {
			LOG_ERR("Jpeg compression failed");
			goto exit_exec;
		}
#endif /* JPEG_ENABLED */

		/*
		 * Single buffer: re-enqueue the same buffer and restart the
		 * pipeline to capture the next frame. Skipped after the final
		 * frame (i == N_FRAMES - 1) so the buffer can drain.
		 */
		if (i < N_FRAMES - N_VID_BUFF) {
			ret = video_enqueue(video, VIDEO_EP_OUT, vbuf);
			if (ret) {
				LOG_ERR("Unable to requeue video buf");
				return -1;
			}

			ret = video_stream_start(video);
			if (ret && ret != -EBUSY) {
				LOG_ERR("Unable to restart capture (interface). ret - %d",
						ret);
				return -1;
			}
		}
	}

exit_exec:

	LOG_INF("Calling video flush.");
	video_flush(video, VIDEO_EP_OUT, false);

	LOG_INF("Calling video stream stop.");
	ret = video_stream_stop(video);
	if (ret) {
		LOG_ERR("Unable to stop capture (interface). ret - %d", ret);
		return -1;
	}

#ifdef CONFIG_DT_HAS_OVTI_OV5640_ENABLED
	regulator_disable(cam_enbuf);
#endif

	return 0;
}

/*
 * Do application configurations.
 */
static int app_set_parameters(void)
{
	run_profile_t runp;
	int ret;

#if defined(CONFIG_VIDEO_MIPI_CSI2_DW)
#if (DT_NODE_HAS_STATUS(DT_NODELABEL(camera_select), okay))
	const struct gpio_dt_spec sel =
		GPIO_DT_SPEC_GET(DT_NODELABEL(camera_select), select_gpios);

	gpio_pin_configure_dt(&sel, GPIO_OUTPUT);
	gpio_pin_set_dt(&sel, 1);
#endif /* (DT_NODE_HAS_STATUS(DT_NODELABEL(camera_sensor), okay)) */
#endif

	/* Enable HFOSC (38.4 MHz) and CFG (100 MHz) clock. */
#if defined(CONFIG_SOC_SERIES_E8)
	sys_set_bits(CGU_CLK_ENA, BIT(23) | BIT(7));
#else
	sys_set_bits(CGU_CLK_ENA, BIT(23) | BIT(21));
#endif /* defined (CONFIG_SOC_SERIES_E7) */

	runp.power_domains = PD_SYST_MASK | PD_SSE700_AON_MASK | PD_DBSS_MASK;
	runp.dcdc_voltage  = 825;
	runp.dcdc_mode     = DCDC_MODE_PWM;
	runp.aon_clk_src   = CLK_SRC_LFXO;
	runp.run_clk_src   = CLK_SRC_PLL;
	runp.vdd_ioflex_3V3 = IOFLEX_LEVEL_1V8;
#if defined(CONFIG_RTSS_HP)
	runp.cpu_clk_freq  = CLOCK_FREQUENCY_400MHZ;
#else
	runp.cpu_clk_freq  = CLOCK_FREQUENCY_160MHZ;
#endif

	runp.memory_blocks = MRAM_MASK;
#if DT_NODE_EXISTS(DT_NODELABEL(sram0))
	runp.memory_blocks |= SRAM0_MASK;
#endif

	runp.phy_pwr_gating |= MIPI_TX_DPHY_MASK | MIPI_RX_DPHY_MASK |
		MIPI_PLL_DPHY_MASK | LDO_PHY_MASK;
	runp.ip_clock_gating = CAMERA_MASK | MIPI_CSI_MASK | MIPI_DSI_MASK;

	ret = se_service_set_run_cfg(&runp);
	__ASSERT(ret == 0, "SE: set_run_cfg failed = %d", ret);

	/*
	 * CPI Pixel clock - Generate XVCLK. Used by ARX3A0
	 * TODO: parse this clock from DTS and set on board from camera
	 * controller driver.
	 */
#if defined(CONFIG_VIDEO_MIPI_CSI2_DW)
	sys_write32(0x140001, CLKCTRL_PER_MST_CAMERA_PIXCLK_CTRL);
#endif

#if (DT_NODE_HAS_STATUS(DT_NODELABEL(lpcam), okay))
	/* Enable LPCAM controller Pixel Clock (XVCLK). */
	/*
	 * Not needed for the time being as LP-CAM supports only
	 * parallel data-mode of cature and only MT9M114 sensor is
	 * tested with parallel data capture which generates clock
	 * internally. But can be used to generate XVCLK from LP CAM
	 * controller.
	 * sys_write32(0x140001, M55HE_CFG_HE_CAMERA_PIXCLK);
	 */
#endif
	return 0;
}

SYS_INIT(app_set_parameters, PRE_KERNEL_1, 46);
```
